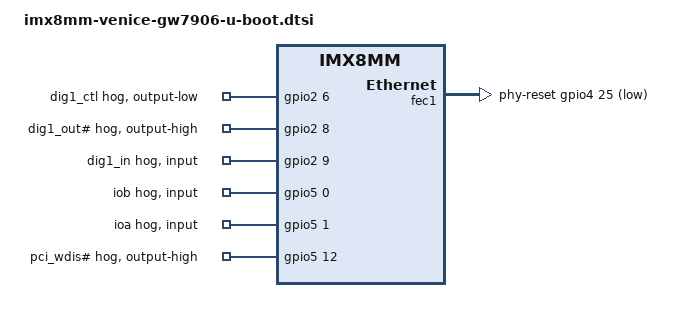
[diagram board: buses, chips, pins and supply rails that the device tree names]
// SPDX-License-Identifier: GPL-2.0+
/*
 * Copyright 2025 Gateworks Corporation
 */

#include "imx8mm-venice-u-boot.dtsi"

&gpio2 {
	dig1ctl {
		gpio-hog;
		output-low;
		gpios = <6 GPIO_ACTIVE_HIGH>;
		line-name = "dig1_ctl";
	};

	dig1out {
		gpio-hog;
		output-high;
		gpios = <8 GPIO_ACTIVE_HIGH>;
		line-name = "dig1_out#";
	};

	dig1in {
		gpio-hog;
		input;
		gpios = <9 GPIO_ACTIVE_HIGH>;
		line-name = "dig1_in";
	};
};

&gpio5 {
	iob {
		gpio-hog;
		input;
		gpios = <0 GPIO_ACTIVE_HIGH>;
		line-name = "iob";
	};

	ioa {
		gpio-hog;
		input;
		gpios = <1 GPIO_ACTIVE_HIGH>;
		line-name = "ioa";
	};

	pci_wdis {
		gpio-hog;
		output-high;
		gpios = <12 GPIO_ACTIVE_HIGH>;
		line-name = "pci_wdis#";
	};
};

&fec1 {
	phy-reset-gpios = <&gpio4 25 GPIO_ACTIVE_LOW>;
	phy-reset-duration = <1>;
	phy-reset-post-delay = <300>;
};

&pinctrl_fec1 {
	bootph-pre-ram;
};

&{/soc@0/bus@30800000/i2c@30a30000/pmic@4b} {
	bootph-pre-ram;
};

&{/soc@0/bus@30800000/i2c@30a30000/pmic@4b/regulators} {
	bootph-pre-ram;
};

&pinctrl_pmic {
	bootph-pre-ram;
};

